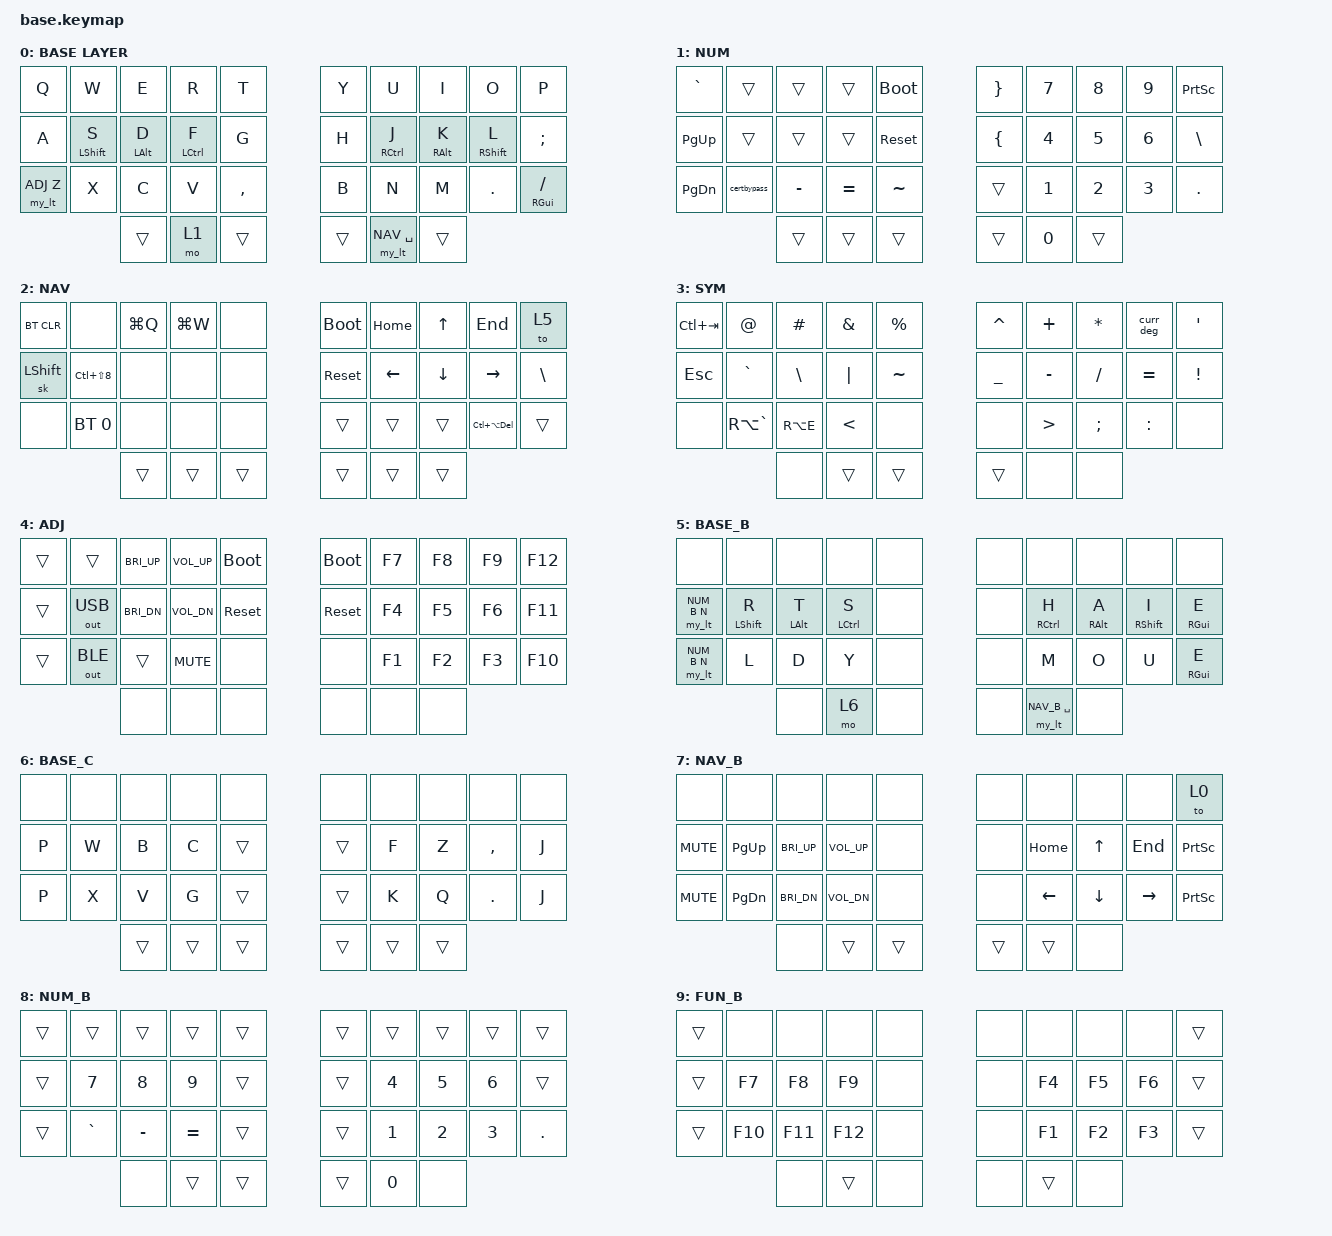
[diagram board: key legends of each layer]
#include <behaviors.dtsi>
#include <dt-bindings/zmk/keys.h>
#include <dt-bindings/zmk/outputs.h>


// layers ID definition
#define BASE 0
#define NUM 1
#define NAV 2
#define SYM 3
#define ADJ 4
#define BASE_B 5
#define BASE_C 6
#define NAV_B 7
#define NUM_B 8
#define FUN_B 9

#define xxx &none
#define ___ &trans

#include "combos.dtsi"
#include "extra_keys.h"
#if WIRELESS
    #include <dt-bindings/zmk/bt.h>
    #define BTL1  &bt BT_CLR   &bt BT_SEL 2  &pc_connect   &osx_connect
    #define BTL2  xxx          &bt BT_SEL 4  &bt BT_SEL 3  &out OUT_TOG
#else
    #define BTL1  xxx   xxx   xxx   xxx
    #define BTL2  xxx   xxx   xxx   xxx
#endif

// tapping term definition
#define TAP_TERM_MS 150
#define QUICK_TAP_MS 100

// macros definition
#define meh LG(LC(LALT))
#define hyper LG(LC(LS(LALT)))
#define deg RA(LS(N8))
#define HR_APP LG(LS(SPACE))
#define DSK_PREV_W LG(LC(LEFT))
#define DSK_NEXT_W LG(LC(RIGHT))

// OSX specific macros
#define undo LG(Z)
#define redo LG(LS(Z))
#define DSK_PREV LC(LEFT)
#define DSK_NEXT LC(RIGHT)
#define prev_win LG(TAB)
#define next_win LG(LS(TAB))

// 36 keys physical layout
#define LEFT_KEYS 0 1 2 3 4 10 11 12 13 14 20 21 22 23 24 // left-hand keys
#define RIGHT_KEYS 5 6 7 8 9 15 16 17 18 19 25 26 27 28 29 // right-hand keys
#define THUMBS 30 31 32 33 34 35 // thumb keys

//     ╭────┬────┬────┬────┬────╮     ╭────┬────┬────┬────┬────╮
//     |  0 |  1 |  2 |  3 |  4 |     |  5 |  6 |  7 |  8 |  9 |
//     ├────┼────┼────┼────┼────┤     ├────┼────┼────┼────┼────┤
//     | 10 | 11 | 12 | 13 | 14 |     | 15 | 16 | 17 | 18 | 19 |
//     ├────┼────┼────┼────┼────┤     ├────┼────┼────┼────┼────┤
//     | 20 | 21 | 22 | 23 | 24 |     | 25 | 26 | 27 | 28 | 29 |
//     ╰────┴────┼────┼────┼────┤     ├────┼────┼────┼────┴────╯
//               | 30 | 31 | 32 |     | 33 | 34 | 35 |
//               ╰────┴────┴────╯     ╰────┴────┴────╯




// tune mod tap
&mt {
    flavor = "tap-preferred";
    tapping_term_ms = <200>;
};

// layer tap config
&lt {
    flavor = "balanced";
    tapping-term-ms = <TAP_TERM_MS>;
    quick-tap-ms = <QUICK_TAP_MS>;      // double-tap + hold repeats tap-key
};

// tune sticky key
&sk {
    release-after-ms = <1000>;
    quick-release;
};

// sticky layer config
&sl {
    release-after-ms = <700>;
};

// caps word settings
&caps_word {
    continue-list = <UNDERSCORE MINUS BSPC N1 N2 N3 N4 N5 N6 N7 N8 N9 N0>;
};


// main tree
/ {
    behaviors {
        // HOME ROW MODS
        hml: left_hand_positional_hold_tap {
            compatible = "zmk,behavior-hold-tap";
            label = "LEFT_POSITIONAL_HOLD_TAP";
            #binding-cells = <2>;
            flavor = "balanced";
            tapping-term-ms = <TAP_TERM_MS>;
            quick-tap-ms = <QUICK_TAP_MS>;       // double-tap + hold repeats tap-key
            require-prior-idle-ms = <20>;       // do not activate HOLD during typing flow
            bindings = <&kp>, <&kp>;
            hold-trigger-key-positions = <LEFT_KEYS RIGHT_KEYS THUMBS>;
            //hold-trigger-on-release;
        };

        hmr: right_hand_positional_hold_tap {
            compatible = "zmk,behavior-hold-tap";
            label = "RIGHT_POSITIONAL_HOLD_TAP";
            #binding-cells = <2>;
            flavor = "balanced";
            tapping-term-ms = <TAP_TERM_MS>;
            quick-tap-ms = <QUICK_TAP_MS>;       // double-tap + hold repeats tap-key
            require-prior-idle-ms = <20>;       // do not activate HOLD during typing flow
            bindings = <&kp>, <&kp>;
            hold-trigger-key-positions = <LEFT_KEYS RIGHT_KEYS THUMBS>;
            //hold-trigger-on-release;
        };

        // TAP DANCES
        curr_deg: tap_dance_curr_deg {
            compatible = "zmk,behavior-tap-dance";
            label = "TAP_DANCE_curr_deg";
            #binding-cells = <0>;
            tapping-term-ms = <TAP_TERM_MS>;
            bindings = <&kp DLLR>, <&kp LA(N5)>, <&kp deg>;
        };
        curr_deg_win: tap_dance_curr_deg_win {
            compatible = "zmk,behavior-tap-dance";
            label = "TAP_DANCE_curr_deg_win";
            #binding-cells = <0>;
            tapping-term-ms = <TAP_TERM_MS>;
            bindings = <&kp DLLR>, <&macro_euro_win>, <&macro_deg_win>;
        };
        prev_next_song: prev_next_song {
            compatible = "zmk,behavior-tap-dance";
            label = "PREV_NEXT_SONG";
            #binding-cells = <0>;
            tapping-term-ms = <TAP_TERM_MS>;
            bindings = <&kp C_NEXT>, <&kp C_PREV>;
        };
        screenshot: screenshot { // single-tap: area selector, double-tap: full-screen
            compatible = "zmk,behavior-tap-dance";
            label = "SCREENSHOT";
            #binding-cells = <0>;
            tapping-term-ms = <TAP_TERM_MS>;
            bindings = <&kp LG(LS(NUMBER_4))>, <&kp LG(LS(NUMBER_3))>;
        };

        // tap: sticky-shift | lshft + tap: caps-word | hold: set in keymap (HYPER)
        ss_cw: ss_cw {
            compatible = "zmk,behavior-mod-morph";
            label = "SS_CW";
            #binding-cells = <0>;
            bindings = <&sk LSHFT>, <&caps_word>;
            mods = <(MOD_LSFT|MOD_RSFT)>;
        };
        lt_shft: lt_shft {
            compatible = "zmk,behavior-hold-tap";
            label = "LT_SHFT";
            #binding-cells = <2>;
            tapping-term-ms = <TAP_TERM_MS>;
            quick-tap-ms = <QUICK_TAP_MS>;
            flavor = "balanced";
            bindings = <&kp>, <&ss_cw>;
        };
		    my_lt: my_layer_taps {
            compatible = "zmk,behavior-hold-tap";
            label = "my layer taps";
            #binding-cells = <2>;
            // flavor = "tap-preferred";
            flavor = "balanced";
            tapping-term-ms = <150>;
            quick-tap-ms = <100>;
            // global-quick-tap;
            bindings = <&mo &kp>, <&kp>;
            // non-thumb keys
            // hold-trigger-key-positions = <0 1 2 3 4 5 6 7 8 9 10 11 12 13>;
        };

        // tap: space | shft + tap: dot -> space -> sticky shift | hold: activate layer
        spc_morph: spc_morph {
            compatible = "zmk,behavior-mod-morph";
            label = "SPC_MORPH";
            #binding-cells = <0>;
            bindings = <&kp SPACE>, <&dot_spc>;
            mods = <(MOD_LSFT)>;
        };
        lt_spc: lt_spc {
            compatible = "zmk,behavior-hold-tap";
            label = "LT_SPC";
            #binding-cells = <2>;
            tapping-term-ms = <TAP_TERM_MS>;
            quick-tap-ms = <QUICK_TAP_MS>;
            flavor = "balanced";
            bindings = <&mo>, <&spc_morph>;
        };

        // Alt+Tab swapper, requires PR #1366
        swapper: swapper{
            compatible = "zmk,behavior-tri-state";
            label = "SWAPPER";
            #binding-cells = <0>;
            bindings = <&kt LGUI>, <&kp TAB>, <&kt LGUI>;
            ignored-key-positions = <31>; // the key being held for the layer activation
        };

        swapper_win: swapper_win{
            compatible = "zmk,behavior-tri-state";
            label = "SWAPPER";
            #binding-cells = <0>;
            bindings = <&kt LCTRL>, <&kp TAB>, <&kt LCTRL>;
            ignored-key-positions = <31>; // the key being held for the layer activation
        };

        //usefull mod-morphs
        dot_colon: dot_colon {
            compatible = "zmk,behavior-mod-morph";
            label = "DOT_TO_COLON";
            #binding-cells = <0>;
            bindings = <&kp DOT>, <&kp COLON>;
            mods = <(MOD_LSFT|MOD_RSFT)>;
        };
        comma_semi: comma_semi {
            compatible = "zmk,behavior-mod-morph";
            label = "COMMA_TO_SEMICOLON";
            #binding-cells = <0>;
            bindings = <&kp COMMA>, <&kp SEMICOLON>;
            mods = <(MOD_LSFT|MOD_RSFT)>;
        };
        quest_excl: quest_excl {
            compatible = "zmk,behavior-mod-morph";
            label = "quest_to_excl";
            #binding-cells = <0>;
            bindings = <&kp QUESTION>, <&kp EXCLAMATION>;
            mods = <(MOD_LSFT|MOD_RSFT)>;
        };
        single_to_doublequote: single_to_doublequote {
            compatible = "zmk,behavior-mod-morph";
            label = "SINGLE_TO_DOUBLEQUOTE";
            #binding-cells = <0>;
            bindings = <&kp SINGLE_QUOTE>, <&kp DOUBLE_QUOTES>;
            mods = <(MOD_LSFT|MOD_RSFT)>;
        };
    };

    // macros
    macros {
        sel_word: select_word {
            label = "ZM_SELECT_WORD";
            compatible = "zmk,behavior-macro";
            #binding-cells = <0>;
            bindings
                = <&macro_press &kp LCTRL>
                , <&macro_tap &kp LEFT>
                , <&macro_press &kp LSHFT>
                , <&macro_tap &kp RIGHT>
                , <&macro_release &kp LSHFT &kp LCTRL>
                ;
        };

        del_line: del_line {
            label = "ZMK_DEL_LINE";
            compatible = "zmk,behavior-macro";
            #binding-cells = <0>;
            bindings
                = <&macro_press &kp END>
                , <&macro_press &kp LGUI>
                , <&macro_tap &kp HOME>
                , <&macro_release &kp LGUI>
                , <&macro_tap &kp BSPC>
                ;
        };

        del_line_win: del_line_win {
            label = "ZMK_DEL_LINE_WIN";
            compatible = "zmk,behavior-macro";
            #binding-cells = <0>;
            bindings
                = <&macro_press &kp END>
                , <&macro_press &kp LSHFT>
                , <&macro_tap &kp HOME>
                , <&macro_release &kp LSHFT>
                , <&macro_tap &kp BSPC>
                ;
        };

        dot_spc: dot_spc{
            label = "ZM_DOT_SPACE";
            compatible = "zmk,behavior-macro";
            #binding-cells = <0>;
            wait-ms = <0>;
            tap-ms = <5>;
            bindings = <&kp DOT &kp SPACE &sk LSHFT>;
        };

        // Windows sleep key (fix LOCK not working on Windows)
        win_sleep: win_sleep{
            label = "ZM_WIN_SLEEP";
            compatible = "zmk,behavior-macro";
            #binding-cells = <0>;
            wait-ms = <100>;
            tap-ms = <5>;
            bindings = <&kp LG(X) &kp U &kp S>;
        };

        #if WIRELESS
        pc_connect: pc_connect{
            label = "ZM_PC_CONNECT";
            compatible = "zmk,behavior-macro";
            #binding-cells = <0>;
            wait-ms = <100>;
            tap-ms = <5>;
            bindings = <&bt BT_SEL 1 &to BASE>;
        };
        osx_connect: osx_connect{
            label = "ZM_PC_CONNECT";
            compatible = "zmk,behavior-macro";
            #binding-cells = <0>;
            wait-ms = <100>;
            tap-ms = <5>;
            bindings = <&bt BT_SEL 0 &to BASE>;
        };
        #endif

        macro_par: macro_par{
            label = "ZM_PAR";
            compatible = "zmk,behavior-macro";
            #binding-cells = <0>;
            wait-ms = <0>;
            tap-ms = <5>;
            bindings = <&kp LPAR &kp RPAR &kp LEFT>;
        };
        macro_bkt: macro_bkt{
            label = "ZM_BKT";
            compatible = "zmk,behavior-macro";
            #binding-cells = <0>;
            wait-ms = <0>;
            tap-ms = <5>;
            bindings = <&kp LBKT &kp RBKT &kp LEFT>;
        };
        macro_brc: macro_brc{
            label = "ZM_BRC";
            compatible = "zmk,behavior-macro";
            #binding-cells = <0>;
            wait-ms = <0>;
            tap-ms = <5>;
            bindings = <&kp LBRC &kp RBRC &kp LEFT>;
        };
        macro_deg_win: macro_deg_win{
            label = "ZM_DEG";
            compatible = "zmk,behavior-macro";
            #binding-cells = <0>;
            wait-ms = <0>;
            tap-ms = <5>;
            bindings
                = <&macro_press   &kp LALT>
                , <&macro_tap     &kp KP_N0 &kp KP_N1 &kp KP_N7 &kp KP_N6>
                , <&macro_release &kp LALT>
                ;
        };
        macro_euro_win: macro_euro_win{
            label = "ZM_EURO";
            compatible = "zmk,behavior-macro";
            #binding-cells = <0>;
            wait-ms = <0>;
            tap-ms = <5>;
            bindings
                = <&macro_press   &kp LALT>
                , <&macro_tap     &kp KP_N0 &kp KP_N1 &kp KP_N2 &kp KP_N8>
                , <&macro_release &kp LALT>
                ;
		};
		macro_shift_num: macro_shift_num{
	  		label = "SHIFTNUM";
	  		compatible = "zmk,behavior-macro";
	    	#binding-cells = <0>;
	    	wait-ms = <0>;
	    	tap-ms = <5>;
	    	bindings
    			= <&macro_press &mo 1 &kp LSHFT>
    			, <&macro_pause_for_release>
    			, <&macro_release &mo 1 &kp LSHFT>
    			;
        };
		certbypass: certbypass {
			compatible = "zmk,behavior-macro";
			#binding-cells = <0>;
			wait-ms = <1>;
			bindings
				= <&kp T &kp H &kp I &kp S &kp I &kp S &kp U &kp N &kp S &kp A &kp F &kp E>
				;
		};
    };

    conditional_layers {
//        compatible = "zmk,conditional-layers";
//        tri_layer {
//            if-layers = <NAV SYM>;
//            then-layer = <ADJ>;
//        };
//        tri_layer_adj {
//            if-layers = <NAVW SYMW>;
//            then-layer = <ADJ>;
//        };
//        tri_layer_sym {
//            if-layers = <BASE_WIN SYM>;
//            then-layer = <SYMW>;
//        };
//        tri_layer_nav {
//            if-layers = <BASE_WIN NAV>;
//            then-layer = <NAVW>;
//       };
    };

    keymap {
        compatible = "zmk,keymap";

        default_layer {
            label = "BASE LAYER"; // 0
            bindings = <
             //╭──────────────┬──────────────┬──────────────┬──────────────┬──────────────╮     ╭──────────────┬──────────────┬──────────────┬──────────────┬──────────────╮
                &kp Q          &kp W          &kp E          &kp R          &kp T                &kp Y          &kp U          &kp I          &kp O          &kp P
             //├──────────────┼──────────────┼──────────────┼──────────────┼──────────────┤     ├──────────────┼──────────────┼──────────────┼──────────────┼──────────────┤
                &kp A          &hml LSHIFT S  &hml LALT D    &hml LCTRL F   &kp G                &kp H          &hmr RCTRL J   &hmr RALT K    &hmr RSHIFT L  &kp SEMI
             //├──────────────┼──────────────┼──────────────┼──────────────┼──────────────┤     ├──────────────┼──────────────┼──────────────┼──────────────┼──────────────┤
                &my_lt ADJ Z   &kp X          &kp C          &kp V          &kp COMMA            &kp B          &kp N          &kp M          &kp PERIOD     &hmr RGUI SLASH
             //╰──────────────┴──────────────┼──────────────┼──────────────┼──────────────┤     ├──────────────┼──────────────┼──────────────┼──────────────┴──────────────╯
                                              ___            &mo 1          ___                  ___            &my_lt NAV SPACE  ___
             //                              ╰──────────────┴──────────────┴──────────────╯     ╰──────────────┴──────────────┴──────────────╯
            >;
        };
        
		num_layer{
            label = "NUM";  //  1
            bindings = <
             //╭──────────────┬──────────────┬──────────────┬──────────────┬──────────────╮     ╭──────────────┬──────────────┬──────────────┬──────────────┬──────────────╮
                &kp GRAVE      ___            ___            ___            &bootloader          &kp RBRC       &kp N7         &kp    N8      &kp    N9      &kp PSCRN
             //├──────────────┼──────────────┼──────────────┼──────────────┼──────────────┤     ├──────────────┼──────────────┼──────────────┼──────────────┼──────────────┤
                &kp PG_UP      ___            ___            ___            &sys_reset           &kp LBRC       &kp N4         &kp    N5      &kp    N6      &kp BSLH
             //├──────────────┼──────────────┼──────────────┼──────────────┼──────────────┤     ├──────────────┼──────────────┼──────────────┼──────────────┼──────────────┤
                &kp PG_DN      &certbypass    &kp MINUS      &kp EQUAL      &kp TILDE            ___            &kp N1         &kp    N2      &kp    N3      &kp DOT
             //╰──────────────┴──────────────┼──────────────┼──────────────┼──────────────┤     ├──────────────┼──────────────┼──────────────┼──────────────┴──────────────╯
                                              ___            ___            ___                  ___            &kp N0         ___
             //                              ╰──────────────┴──────────────┴──────────────╯     ╰──────────────┴──────────────┴──────────────╯
            >;
        };

        nav_layer{
            label = "NAV";  //  2
            bindings = <
             //╭──────────────┬──────────────┬──────────────┬──────────────┬──────────────╮     ╭──────────────┬──────────────┬──────────────┬──────────────┬──────────────╮
                &bt BT_CLR     xxx            &kp LG(Q)      &kp LG(W)      xxx                  &bootloader    &kp HOME       &kp UP         &kp END        &to 5
             //├──────────────┼──────────────┼──────────────┼──────────────┼──────────────┤     ├──────────────┼──────────────┼──────────────┼──────────────┼──────────────┤
                &sk LSHFT      &kp LC(LS(N8)) xxx            xxx            xxx                  &sys_reset     &kp LEFT       &kp DOWN       &kp RIGHT      &kp BSLH
             //├──────────────┼──────────────┼──────────────┼──────────────┼──────────────┤     ├──────────────┼──────────────┼──────────────┼──────────────┼──────────────┤
                xxx            &bt BT_SEL 0   xxx            xxx            xxx                  ___            ___            ___            &kp LC(LA(DEL))     ___
             //╰──────────────┴──────────────┼──────────────┼──────────────┼──────────────┤     ├──────────────┼──────────────┼──────────────┼──────────────┴──────────────╯
                                              ___            ___            ___                  ___            ___            ___
             //                              ╰──────────────┴──────────────┴──────────────╯     ╰──────────────┴──────────────┴──────────────╯
            >;
        };

        symbols {
            label = "SYM";  //  3
            bindings = <
             //╭──────────────┬──────────────┬──────────────┬──────────────┬──────────────╮     ╭──────────────┬──────────────┬──────────────┬──────────────┬──────────────╮
                &kp LC(TAB)       &kp AT         &kp HASH       &kp AMPS       &kp PERCENT          &kp CARET      &kp PLUS       &kp ASTRK      &curr_deg      &kp SQT
             //├──────────────┼──────────────┼──────────────┼──────────────┼──────────────┤     ├──────────────┼──────────────┼──────────────┼──────────────┼──────────────┤
                &kp ESCAPE        &kp GRAVE      &kp BSLH       &kp PIPE       &kp TILDE            &kp UNDER      &kp MINUS      &kp SLASH      &kp EQUAL      &kp EXCL
             //├──────────────┼──────────────┼──────────────┼──────────────┼──────────────┤     ├──────────────┼──────────────┼──────────────┼──────────────┼──────────────┤
                xxx            &kp RA(GRAVE)  &kp RA(E)      &kp LT         xxx                  xxx            &kp GT         &kp SEMI       &kp COLON      xxx
             //╰──────────────┴──────────────┼──────────────┼──────────────┼──────────────┤     ├──────────────┼──────────────┼──────────────┼──────────────┴──────────────╯
                                              xxx            ___            ___                  ___            xxx            xxx
             //                              ╰──────────────┴──────────────┴──────────────╯     ╰──────────────┴──────────────┴──────────────╯
            >;
        };

        adj_layer {
            label = "ADJ";  //  4
            bindings = <
             //╭──────────────┬──────────────┬──────────────┬──────────────┬──────────────╮     ╭──────────────┬──────────────┬──────────────┬──────────────┬──────────────╮
                ___            ___            &kp C_BRI_UP   &kp C_VOL_UP   &bootloader          &bootloader    &kp F7         &kp F8         &kp F9         &kp F12
             //├──────────────┼──────────────┼──────────────┼──────────────┼──────────────┤     ├──────────────┼──────────────┼──────────────┼──────────────┼──────────────┤
                ___            &out OUT_USB   &kp C_BRI_DN   &kp C_VOL_DN   &sys_reset           &sys_reset     &kp F4         &kp F5         &kp F6         &kp F11
             //├──────────────┼──────────────┼──────────────┼──────────────┼──────────────┤     ├──────────────┼──────────────┼──────────────┼──────────────┼──────────────┤
                ___            &out OUT_BLE   ___            &kp C_MUTE     xxx                  xxx            &kp F1         &kp F2         &kp F3         &kp F10
             //╰──────────────┴──────────────┼──────────────┼──────────────┼──────────────┤     ├──────────────┼──────────────┼──────────────┼──────────────┴──────────────╯
                                              xxx            xxx            xxx                  xxx            xxx            xxx
             //                              ╰──────────────┴──────────────┴──────────────╯     ╰──────────────┴──────────────┴──────────────╯
            >;
        };

        default_b {
            label = "BASE_B";  //  5 - Buggy Layer
            bindings = <
             //╭──────────────┬──────────────┬──────────────┬──────────────┬──────────────╮     ╭──────────────┬──────────────┬──────────────┬──────────────┬──────────────╮
                xxx            xxx            xxx            xxx            xxx                  xxx            xxx            xxx            xxx            xxx
             //├──────────────┼──────────────┼──────────────┼──────────────┼──────────────┤     ├──────────────┼──────────────┼──────────────┼──────────────┼──────────────┤
                &my_lt NUM_B N  &hml LSHIFT R  &hml LALT T   &hml LCTRL S   xxx                  xxx            &hmr RCTRL H   &hmr RALT A    &hmr RSHIFT I  &hmr RGUI E
             //├──────────────┼──────────────┼──────────────┼──────────────┼──────────────┤     ├──────────────┼──────────────┼──────────────┼──────────────┼──────────────┤
                &my_lt NUM_B N     &kp L          &kp D          &kp Y      xxx                  xxx            &kp M          &kp O          &kp U      &hmr RGUI E
             //╰──────────────┴──────────────┼──────────────┼──────────────┼──────────────┤     ├──────────────┼──────────────┼──────────────┼──────────────┴──────────────╯
                                              xxx            &mo 6          xxx                  xxx            &my_lt NAV_B SPACE  xxx
             //                              ╰──────────────┴──────────────┴──────────────╯     ╰──────────────┴──────────────┴──────────────╯
            >;
        };

        default_c {
            label = "BASE_C";  //  6 - Buggy Layer
            bindings = <
             //╭──────────────┬──────────────┬──────────────┬──────────────┬──────────────╮     ╭──────────────┬──────────────┬──────────────┬──────────────┬──────────────╮
                xxx            xxx            xxx            xxx            xxx                  xxx            xxx            xxx            xxx            xxx
             //├──────────────┼──────────────┼──────────────┼──────────────┼──────────────┤     ├──────────────┼──────────────┼──────────────┼──────────────┼──────────────┤
                &kp P            &kp W        &kp B          &kp C          ___                  ___            &kp F          &kp Z          &kp COMMA      &kp J
             //├──────────────┼──────────────┼──────────────┼──────────────┼──────────────┤     ├──────────────┼──────────────┼──────────────┼──────────────┼──────────────┤
                &kp P            &kp X        &kp V          &kp G          ___                  ___            &kp K          &kp Q          &kp PERIOD     &kp J
             //╰──────────────┴──────────────┼──────────────┼──────────────┼──────────────┤     ├──────────────┼──────────────┼──────────────┼──────────────┴──────────────╯
                                              ___            ___            ___                  ___            ___            ___
             //                              ╰──────────────┴──────────────┴──────────────╯     ╰──────────────┴──────────────┴──────────────╯
            >;
        };
		
        nav_win{
            label = "NAV_B";  //  7
            bindings = <
             //╭──────────────┬──────────────┬──────────────┬──────────────┬──────────────╮     ╭──────────────┬──────────────┬──────────────┬──────────────┬──────────────╮
                xxx            xxx            xxx            xxx            xxx                  xxx            xxx            xxx            xxx            &to 0
             //├──────────────┼──────────────┼──────────────┼──────────────┼──────────────┤     ├──────────────┼──────────────┼──────────────┼──────────────┼──────────────┤
                &kp C_MUTE     &kp PG_UP      &kp C_BRI_UP   &kp C_VOL_UP   xxx                  xxx            &kp HOME       &kp UP         &kp END        &kp PSCRN
             //├──────────────┼──────────────┼──────────────┼──────────────┼──────────────┤     ├──────────────┼──────────────┼──────────────┼──────────────┼──────────────┤
                &kp C_MUTE     &kp PG_DN      &kp C_BRI_DN   &kp C_VOL_DN   xxx                  xxx            &kp LEFT       &kp DOWN       &kp RIGHT      &kp PSCRN
             //╰──────────────┴──────────────┼──────────────┼──────────────┼──────────────┤     ├──────────────┼──────────────┼──────────────┼──────────────┴──────────────╯
                                              xxx            ___            ___                  ___            ___            xxx
             //                              ╰──────────────┴──────────────┴──────────────╯     ╰──────────────┴──────────────┴──────────────╯
            >;
        };



        symbols_win {
            label = "NUM_B";  //  8
            bindings = <
             //╭──────────────┬──────────────┬──────────────┬──────────────┬──────────────╮     ╭──────────────┬──────────────┬──────────────┬──────────────┬──────────────╮
                ___            ___            ___            ___            ___                  ___            ___            ___            ___            ___
             //├──────────────┼──────────────┼──────────────┼──────────────┼──────────────┤     ├──────────────┼──────────────┼──────────────┼──────────────┼──────────────┤
                ___            &kp N7         &kp N8         &kp N9         ___                  ___            &kp N4         &kp N5         &kp N6         ___
             //├──────────────┼──────────────┼──────────────┼──────────────┼──────────────┤     ├──────────────┼──────────────┼──────────────┼──────────────┼──────────────┤
                ___            &kp GRAVE      &kp MINUS      &kp EQUAL      ___                  ___            &kp N1         &kp N2         &kp N3         &kp PERIOD
             //╰──────────────┴──────────────┼──────────────┼──────────────┼──────────────┤     ├──────────────┼──────────────┼──────────────┼──────────────┴──────────────╯
                                              xxx            ___            ___                  ___            &kp N0            xxx
             //                              ╰──────────────┴──────────────┴──────────────╯     ╰──────────────┴──────────────┴──────────────╯
            >;
        };



        lock_layer {
            label = "FUN_B";  //  9
            bindings = <
             //╭──────────────┬──────────────┬──────────────┬──────────────┬──────────────╮     ╭──────────────┬──────────────┬──────────────┬──────────────┬──────────────╮
                ___            xxx            xxx            xxx            xxx                  xxx            xxx            xxx            xxx            ___
             //├──────────────┼──────────────┼──────────────┼──────────────┼──────────────┤     ├──────────────┼──────────────┼──────────────┼──────────────┼──────────────┤
                ___            &kp F7         &kp F8         &kp F9         xxx                  xxx            &kp F4         &kp F5         &kp F6         ___
             //├──────────────┼──────────────┼──────────────┼──────────────┼──────────────┤     ├──────────────┼──────────────┼──────────────┼──────────────┼──────────────┤
                ___            &kp F10        &kp F11        &kp F12        xxx                  xxx            &kp F1         &kp F2         &kp F3         ___
             //╰──────────────┴──────────────┼──────────────┼──────────────┼──────────────┤     ├──────────────┼──────────────┼──────────────┼──────────────┴──────────────╯
                                              xxx            ___            xxx                  xxx            ___            xxx
             //                              ╰──────────────┴──────────────┴──────────────╯     ╰──────────────┴──────────────┴──────────────╯
            >;
        };

    };
};
